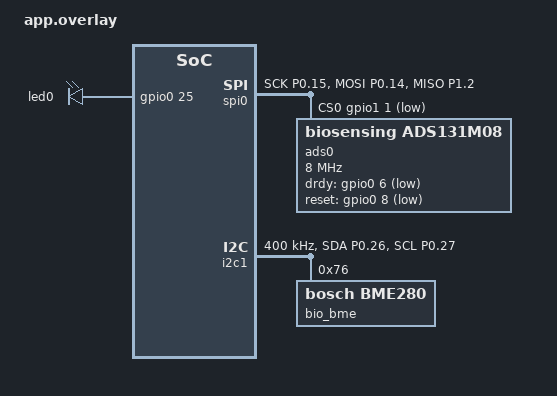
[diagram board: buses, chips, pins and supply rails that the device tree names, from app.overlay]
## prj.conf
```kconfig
# bt840_min: minimal preset. This is the complete configuration.
# Select nrf52840dk/nrf52840 with NCS v3.3.1 and sysbuild.
# No EXTRA_CONF_FILE or other custom build arguments are needed.

CONFIG_GPIO=y
CONFIG_BT=y
CONFIG_BT_PERIPHERAL=y
CONFIG_BT_MAX_CONN=1
CONFIG_BT_L2CAP_TX_MTU=247
CONFIG_BT_BUF_ACL_RX_SIZE=251
CONFIG_BT_BUF_ACL_TX_SIZE=251
CONFIG_BT_BUF_ACL_TX_COUNT=3
CONFIG_BT_RX_STACK_SIZE=1536
CONFIG_MAIN_STACK_SIZE=2048
CONFIG_SYSTEM_WORKQUEUE_STACK_SIZE=1536
CONFIG_HEAP_MEM_POOL_SIZE=2048
CONFIG_LOG=y
CONFIG_LOG_DEFAULT_LEVEL=3
CONFIG_USE_SEGGER_RTT=y
CONFIG_CONSOLE=y
CONFIG_UART_CONSOLE=n
CONFIG_RTT_CONSOLE=y
CONFIG_LOG_BACKEND_UART=n
CONFIG_LOG_BACKEND_RTT=n
CONFIG_SHELL=y
CONFIG_SHELL_BACKEND_SERIAL=n
CONFIG_SHELL_BACKEND_RTT=y
CONFIG_SHELL_VT100_COLORS=n
CONFIG_SHELL_CMDS_RESIZE=n
CONFIG_REBOOT=y
CONFIG_SERIAL=n
# Modules do not require an external 32.768 kHz crystal for bring-up.
CONFIG_CLOCK_CONTROL_NRF_K32SRC_RC=y
CONFIG_CLOCK_CONTROL_NRF_K32SRC_XTAL=n

CONFIG_BIO_PROFILE="BT52840 / BT840"
CONFIG_BT_DEVICE_NAME="BT840-v3"

# Built-in minimal feature.
CONFIG_BIO_ADS=n
CONFIG_BIO_I2C_SENSORS=n
CONFIG_BIO_BEACONS=n
```

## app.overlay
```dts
// bt840_min: complete carrier overlay; automatically loaded by Zephyr.
#include <zephyr/dt-bindings/gpio/gpio.h>
#include <zephyr/dt-bindings/pinctrl/nrf-pinctrl.h>
/ { aliases { bio-led = &led0; ads0 = &ads0; ads1 = &ads1; sensor-i2c = &i2c1; }; };
&led0 { gpios = <&gpio0 25 GPIO_ACTIVE_HIGH>; };
&led1 { status = "disabled"; };
&led2 { status = "disabled"; };
&led3 { status = "disabled"; };
&button0 { status = "disabled"; };
&button1 { status = "disabled"; };
&button2 { status = "disabled"; };
&button3 { status = "disabled"; };
&gpio0 { /delete-property/ gpio-reserved-ranges; /delete-property/ gpio-line-names; };
&gpio1 { /delete-property/ gpio-line-names; };
&uart0 { status = "disabled"; };
&uart1 { status = "disabled"; };
&qspi { status = "disabled"; };
&pwm0 { status = "disabled"; };
&nfct { status = "disabled"; };
&adc { status = "disabled"; };
&i2c0 { status = "disabled"; };
&spi1 { status = "disabled"; };
&spi0 {
	status = "okay";
	compatible = "nordic,nrf-spim";
	pinctrl-0 = <&bio_spi_default>;
	pinctrl-1 = <&bio_spi_sleep>;
	pinctrl-names = "default", "sleep";
	cs-gpios = <&gpio1 1 GPIO_ACTIVE_LOW>;
	ads0: adc@0 {
		compatible = "biosensing,ads131m08";
		reg = <0>;
		spi-max-frequency = <8000000>;
		drdy-gpios = <&gpio0 6 (GPIO_ACTIVE_LOW | GPIO_PULL_UP)>;
		reset-gpios = <&gpio0 8 GPIO_ACTIVE_LOW>;
	};
	// Extension mapping follows executable main.cpp, see hardware notes.
	ads1: adc@1 {
		compatible = "biosensing,ads131m08";
		reg = <1>;
		spi-max-frequency = <8000000>;
		drdy-gpios = <&gpio1 8 (GPIO_ACTIVE_LOW | GPIO_PULL_UP)>;
		reset-gpios = <&gpio0 29 GPIO_ACTIVE_LOW>;
		status = "disabled";
	};
};
&i2c1 {
	compatible = "nordic,nrf-twim";
	status = "okay";
	clock-frequency = <400000>;
	pinctrl-0 = <&bio_i2c_default>;
	pinctrl-1 = <&bio_i2c_sleep>;
	pinctrl-names = "default", "sleep";
	bio_bme: bme280@76 { compatible = "bosch,bme280"; reg = <0x76>; };
};
&pinctrl {
	bio_spi_default: bio_spi_default { group1 { psels = <NRF_PSEL(SPIM_SCK, 0, 15)>, <NRF_PSEL(SPIM_MOSI, 0, 14)>, <NRF_PSEL(SPIM_MISO, 1, 2)>; }; };
	bio_spi_sleep: bio_spi_sleep { group1 { psels = <NRF_PSEL(SPIM_SCK, 0, 15)>, <NRF_PSEL(SPIM_MOSI, 0, 14)>, <NRF_PSEL(SPIM_MISO, 1, 2)>; low-power-enable; }; };
	bio_i2c_default: bio_i2c_default { group1 { psels = <NRF_PSEL(TWIM_SDA, 0, 26)>, <NRF_PSEL(TWIM_SCL, 0, 27)>; }; };
	bio_i2c_sleep: bio_i2c_sleep { group1 { psels = <NRF_PSEL(TWIM_SDA, 0, 26)>, <NRF_PSEL(TWIM_SCL, 0, 27)>; low-power-enable; }; };
};
```

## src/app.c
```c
#include "bio.h"
#include <string.h>
#include <zephyr/drivers/gpio.h>
#include <zephyr/logging/log.h>
#include <zephyr/sys/printk.h>
#if defined(CONFIG_SHELL)
#include <zephyr/shell/shell.h>
#endif
LOG_MODULE_REGISTER(bio_app, LOG_LEVEL_INF);
struct request { enum bio_origin origin; uint32_t session; bool binary;
	uint16_t len; char data[BIO_COMMAND_MAX]; };
K_MSGQ_DEFINE(commands, sizeof(struct request), CONFIG_BIO_COMMAND_DEPTH, 4);
static const struct gpio_dt_spec led = GPIO_DT_SPEC_GET(DT_ALIAS(bio_led), gpios);
static bool led_ready;
static atomic_t app_ready, commands_dropped, stale_commands;

void bio_publish(uint8_t sensor, const void *data, size_t len)
{
	// Each transport copies the packet; neither blocks acquisition on host traffic.
	(void)bio_ble_send(sensor, data, len);
	(void)bio_usb_send(sensor, data, len);
}
int bio_submit(enum bio_origin origin, const void *data, size_t len, bool binary, uint32_t session)
{
	if (!atomic_get(&app_ready)) { return -EAGAIN; }
	if (!data || !len || len >= BIO_COMMAND_MAX || (!binary && memchr(data, 0, len))) { return -EINVAL; }
	struct request req = { .origin = origin, .session = session, .binary = binary, .len = len };
	memcpy(req.data, data, len);
	int err = k_msgq_put(&commands, &req, K_NO_WAIT);
	if (err) { atomic_inc(&commands_dropped); }
	return err;
}

static void status_reply(char *reply, size_t capacity)
{
	unsigned built = (IS_ENABLED(CONFIG_BIO_ADS) ? BIT(BIO_ADS0) : 0) |
		(IS_ENABLED(CONFIG_BIO_ADS_SECOND) ? BIT(BIO_ADS1) : 0) |
		(IS_ENABLED(CONFIG_BIO_I2C_SENSORS) ? BIT(BIO_MPU) | BIT(BIO_MAX) | BIT(BIO_BME) | BIT(BIO_QMC) : 0) |
		(IS_ENABLED(CONFIG_BIO_DMIC) ? BIT(BIO_PCM) : 0) |
		(IS_ENABLED(CONFIG_BIO_BEACONS) ? BIT(BIO_BEACON) : 0) |
		(IS_ENABLED(CONFIG_BIO_AUX_UART) ? BIT(BIO_UART) : 0) |
		(IS_ENABLED(CONFIG_BIO_AUDIO) ? BIO_CAP_AUDIO : 0) |
		(IS_ENABLED(CONFIG_BIO_USB) ? BIO_CAP_USB : 0);
	unsigned ready = (bio_ads_ready() << BIO_ADS0) | bio_sensors_ready() |
		(bio_dmic_ready() ? BIT(BIO_PCM) : 0) |
		(IS_ENABLED(CONFIG_BIO_BEACONS) && bio_ble_ready() ? BIT(BIO_BEACON) : 0) |
		(bio_aux_ready() ? BIT(BIO_UART) : 0) |
		(bio_audio_ready() ? BIO_CAP_AUDIO : 0) |
		(bio_usb_ready() ? BIO_CAP_USB : 0);
	unsigned running = (bio_ads_running() << BIO_ADS0) | bio_sensors_running() |
		(bio_dmic_running() ? BIT(BIO_PCM) : 0) |
		(bio_ble_scanning() ? BIT(BIO_BEACON) : 0) |
		(bio_aux_ready() ? BIT(BIO_UART) : 0) |
		(bio_audio_running() ? BIO_CAP_AUDIO : 0) |
		(bio_usb_session() ? BIO_CAP_USB : 0);
	snprintk(reply, capacity, "%s built=0x%x ready=0x%x running=0x%x ble=%u ads_mask=0x%x ads_missed=%u ble_drop=%u",
		CONFIG_BIO_PROFILE, built, ready, running, bio_ble_session() != 0,
		bio_ads_ready(), bio_ads_missed(), bio_ble_dropped());
}

static void stats_reply(char *reply, size_t capacity)
{
	struct bio_adc_stats adc = bio_ads_stats();
	struct bio_io_stats usb = bio_usb_stats(), uart = bio_aux_stats();
	snprintk(reply, capacity,
		"ads_irq=%u ads_spi=%u ads_crc=%u ble_drop=%u usb_tx_drop=%u usb_rx_drop=%u uart_tx_drop=%u uart_rx_drop=%u cmd_drop=%u stale_cmd=%u",
		adc.irq, adc.spi, adc.crc, bio_ble_dropped(), usb.tx_drop, usb.rx_drop,
		uart.tx_drop, uart.rx_drop, (unsigned)atomic_get(&commands_dropped), (unsigned)atomic_get(&stale_commands));
}
static int execute(const struct bio_command *cmd, char *reply, size_t capacity)
{
	uint16_t value = 0;
	switch (cmd->op) {
	case BIO_HELP:
		snprintk(reply, capacity, "status; stats; sensor ads0|ads1|mpu|max|bme|qmc start|stop; ads 0|1 read REG|write REG VALUE|gain 1..128|rate 250..2000; led on|off; scan|audio|dmic start|stop; uart TEXT");
		return 0;
	case BIO_STATUS:
		status_reply(reply, capacity);
		return 0;
	case BIO_STATS:
		stats_reply(reply, capacity);
		return 0;
	case BIO_SAMPLE:
		return cmd->id <= BIO_ADS1 ? bio_ads_start(cmd->id - BIO_ADS0, cmd->enable) : bio_sensors_start(cmd->id, cmd->enable);
	case BIO_ADS_READ: case BIO_ADS_WRITE: case BIO_ADS_GAIN: case BIO_ADS_RATE: {
		int err = bio_ads_control(cmd, &value);
		if (!err && cmd->op == BIO_ADS_READ) { snprintk(reply, capacity, "ok 0x%04x", value); }
		return err;
	}
	case BIO_LED: return led_ready ? gpio_pin_set_dt(&led, cmd->enable) : -ENODEV;
	case BIO_SCAN: return bio_ble_scan(cmd->enable);
	case BIO_AUDIO: return bio_audio_set(cmd->enable);
	case BIO_MIC: return bio_dmic_set(cmd->enable);
	case BIO_UART_SEND: return bio_aux_send(cmd->text);
	default: return -ENOTSUP;
	}
}
void bio_app_run(void)
{
	struct request req;
	while (true) {
		k_msgq_get(&commands, &req, K_FOREVER);
		/* Queued commands are valid only for the connection that submitted them.
		 * Commands already executing are not cancelled by a disconnect. */
		if ((req.origin == BIO_ORIGIN_BLE && (!req.session || req.session != bio_ble_session())) ||
		    (req.origin == BIO_ORIGIN_USB && (!req.session || req.session != bio_usb_session()))) {
			atomic_inc(&stale_commands);
			continue;
		}
		struct bio_command cmd;
		char reply[BIO_PACKET_MAX] = "ok";
		int err = req.binary ? bio_parse_legacy((uint8_t *)req.data, req.len, &cmd) : bio_parse(req.data, &cmd);
		if (!err) { err = execute(&cmd, reply, sizeof(reply)); }
		if (err) { snprintk(reply, sizeof(reply), "error %d (use help; stop ADC before changing registers)", err); }
		if (req.origin == BIO_ORIGIN_BLE) { bio_ble_reply(reply, req.session); }
		else if (req.origin == BIO_ORIGIN_USB) { bio_usb_reply(reply, req.session); }
		else if (req.origin == BIO_ORIGIN_AUX) { bio_aux_send(reply); }
		else { LOG_INF("%s", reply); }
	}
}
void bio_app_start(void)
{
	led_ready = gpio_is_ready_dt(&led) && gpio_pin_configure_dt(&led, GPIO_OUTPUT_INACTIVE) == 0;
	atomic_set(&app_ready, 1);
}
#if defined(CONFIG_SHELL)
static int shell_bio(const struct shell *sh, size_t argc, char **argv)
{
	char line[BIO_COMMAND_MAX] = "";
	size_t used = 0;
	if (argc < 2) { strcpy(line, "help"); }
	for (size_t i = 1; i < argc; i++) {
		size_t len = strlen(argv[i]);
		if (used + len + 1 >= sizeof(line)) { return -EMSGSIZE; }
		if (used) { line[used++] = ' '; }
		memcpy(line + used, argv[i], len + 1); used += len;
	}
	int err = bio_submit(BIO_ORIGIN_SHELL, line, strlen(line), false, 0);
	if (err) { shell_error(sh, "Command queue: %d", err); }
	return err;
}
SHELL_CMD_REGISTER(bio, NULL, "Biosensing commands (bio help)", shell_bio);
#endif
```
